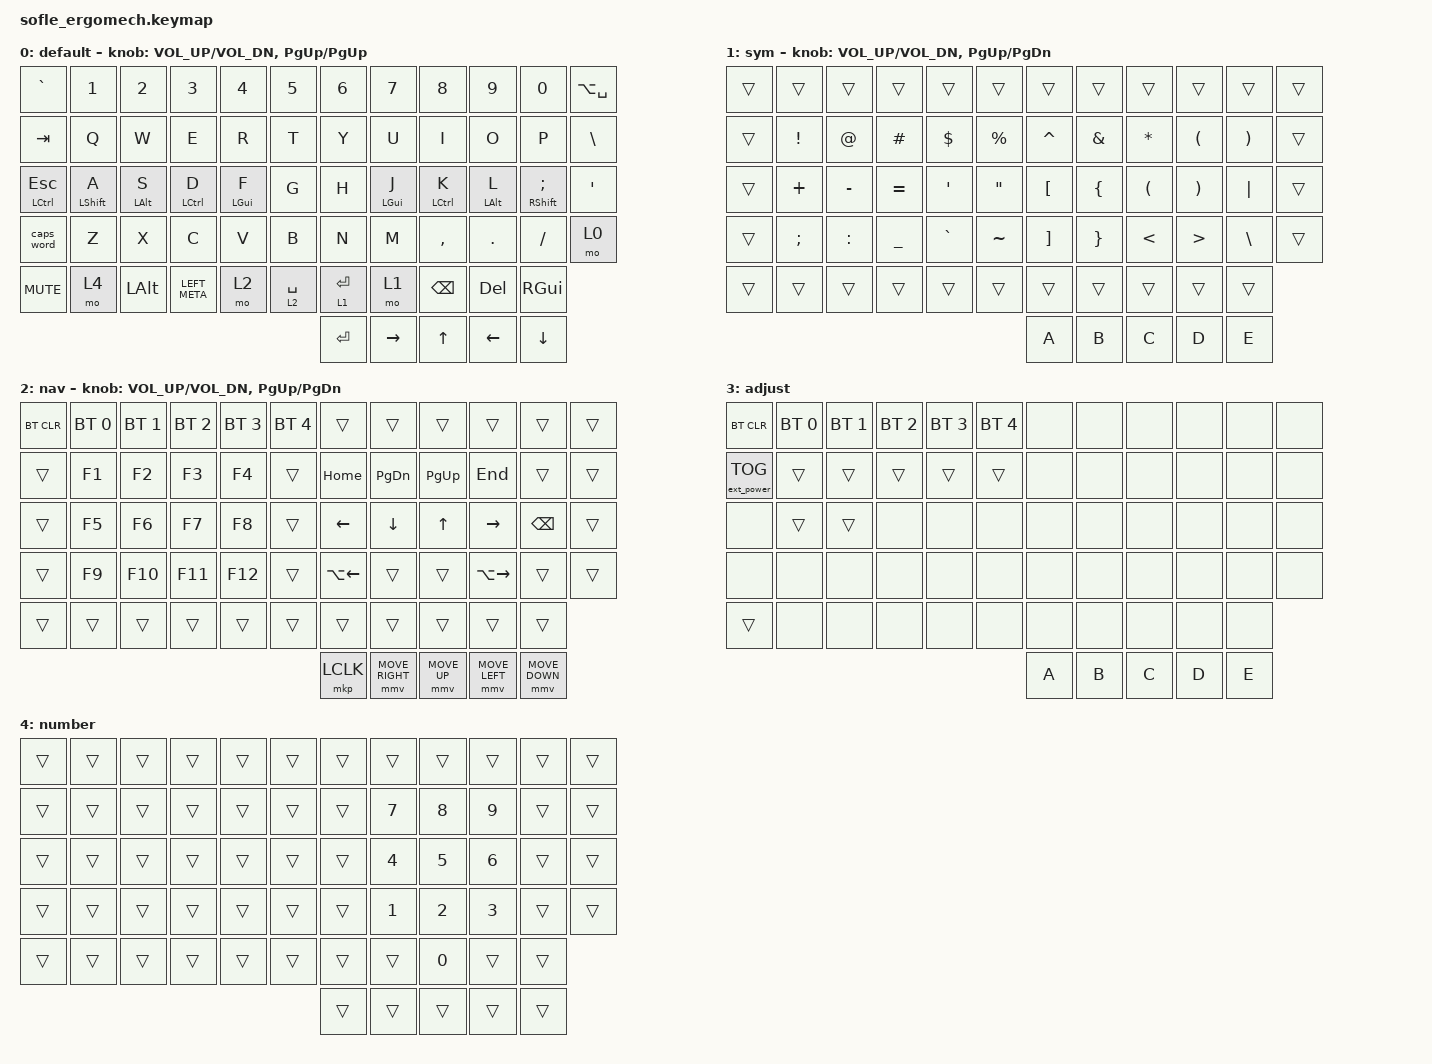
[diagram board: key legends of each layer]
/*
 * Copyright (c) 2020 The ZMK Contributors
 *
 * SPDX-License-Identifier: MIT
 */

#include <behaviors.dtsi>
#include <dt-bindings/zmk/bt.h>
#include <dt-bindings/zmk/ext_power.h>
#include <dt-bindings/zmk/keys.h>
#include <dt-bindings/zmk/pointing.h>

#define BASE 0
#define LOWER 1
#define RAISE 2
#define ADJUST 3

&mt { tapping-term-ms = <250>; };

/ {
    // Activate ADJUST layer by pressing raise and lower

    conditional_layers {
        compatible = "zmk,conditional-layers";

        adjust_layer {
            if-layers = <1 2>;
            then-layer = <3>;
        };
    };

    keymap {
        compatible = "zmk,keymap";

        default_layer {
            label = "default";

            // ------------------------------------------------------------------------------------------------------------
            // |   `   |  1  |  2  |  3   |  4   |  5   |                   |  6   |  7    |  8    |  9   |   0   |       |
            // |  ESC  |  Q  |  W  |  E   |  R   |  T   |                   |  Y   |  U    |  I    |  O   |   P   | BKSPC |
            // |  TAB  |  A  |  S  |  D   |  F   |  G   |                   |  H   |  J    |  K    |  L   |   ;   |   '   |
            // | SHIFT |  Z  |  X  |  C   |  V   |  B   |  MUTE  |  |       |  N   |  M    |  ,    |  .   |   /   | SHIFT |
            //               | GUI | ALT  | CTRL | RAISE|  ENTER |  | SPACE | LOWER| CTRL  | ALT   | GUI  |

            bindings = <
&kp GRAVE         &kp N1       &kp N2      &kp N3         &kp N4      &kp N5       &kp N6       &kp N7          &kp N8         &kp N9      &kp N0          &kp LA(SPACE)
&kp TAB           &kp Q        &kp W       &kp E          &kp R       &kp T        &kp Y        &kp U           &kp I          &kp O       &kp P           &kp BACKSLASH
&mt LCTRL ESCAPE  &mt LSHFT A  &mt LALT S  &mt LCTRL D    &mt LGUI F  &kp G        &kp H        &mt LEFT_GUI J  &mt LCTRL K    &mt LALT L  &mt RSHFT SEMI  &kp SQT
&caps_word        &kp Z        &kp X       &kp C          &kp V       &kp B        &kp N        &kp M           &kp COMMA      &kp DOT     &kp FSLH        &mo 0
&kp C_MUTE        &mo 4        &kp LALT    &kp LEFT_META  &mo 2       &lt 2 SPACE  &lt 1 ENTER  &mo 1           &kp BACKSPACE  &kp DEL     &kp RGUI
                                                                                   &kp ENTER    &kp RIGHT       &kp UP_ARROW   &kp LEFT    &kp DOWN
            >;

            sensor-bindings =
                <&inc_dec_kp C_VOL_UP C_VOL_DN>,
                <&inc_dec_kp PG_UP PG_UP>;
        };

        symbols {
            label = "sym";

            // TODO: Some binds are waiting for shifted keycode support.
            // ------------------------------------------------------------------------------------------------------------
            // |       |  F1 |  F2 |  F3  |  F4  |  F5  |                   |  F6  |  F7   |  F8   |  F9  |  F10  |  F11  |
            // |   `   |  1  |  2  |  3   |  4   |  5   |                   |  6   |  7    |  8    |  9   |   0   |  F12  |
            // |       |  !  |  @  |  #   |  $   |  %   |                   |  ^   |  &    |  *    |  (   |   )   |   |   |
            // |       |  =  |  -  |  +   |  {   |  }   |        |  |       |  [   |  ]    |  ;    |  :   |   \   |       |
            //               |     |      |      |      |        |  |       |      |       |       |      |

            bindings = <
&trans  &trans    &trans     &trans     &trans            &trans             &trans            &trans          &trans                &trans                 &trans                 &trans
&trans  &kp EXCL  &kp AT     &kp HASH   &kp DOLLAR        &kp PERCENT        &kp CARET         &kp AMPS        &kp ASTRK             &kp LEFT_PARENTHESIS   &kp RIGHT_PARENTHESIS  &trans
&trans  &kp PLUS  &kp MINUS  &kp EQUAL  &kp SINGLE_QUOTE  &kp DOUBLE_QUOTES  &kp LEFT_BRACKET  &kp LEFT_BRACE  &kp LEFT_PARENTHESIS  &kp RIGHT_PARENTHESIS  &kp PIPE               &trans
&trans  &kp SEMI  &kp COLON  &kp UNDER  &kp GRAVE         &kp TILDE          &kp RBKT          &kp RBRC        &kp LESS_THAN         &kp GREATER_THAN       &kp BSLH               &trans
&trans  &trans    &trans     &trans     &trans            &trans             &trans            &trans          &trans                &trans                 &trans
                                                                             &kp A             &kp B           &kp C                 &kp D                  &kp E
            >;

            sensor-bindings = <&inc_dec_kp C_VOL_UP C_VOL_DN &inc_dec_kp PG_UP PG_DN>;
        };

        navigation {
            label = "nav";

            // ------------------------------------------------------------------------------------------------------------
            // | BTCLR | BT1  | BT2  |  BT3  |  BT4  |  BT5 |                |      |      |       |      |       |       |
            // |       | INS  | PSCR | GUI   |       |      |                | PGUP |      |   ^   |      |       |       |
            // |       | ALT  | CTRL | SHIFT |       | CAPS |                | PGDN |   <- |   v   |  ->  |  DEL  | BKSPC |
            // |       | UNDO | CUT  | COPY  | PASTE |      |      |  |      |      |      |       |      |       |       |
            //                |      |       |       |      |      |  |      |      |      |       |      |

            bindings = <
&bt BT_CLR  &bt BT_SEL 0  &bt BT_SEL 1  &bt BT_SEL 2  &bt BT_SEL 3  &bt BT_SEL 4  &trans              &trans           &trans        &trans          &trans          &trans
&trans      &kp F1        &kp F2        &kp F3        &kp F4        &trans        &kp HOME            &kp PAGE_DOWN    &kp PG_UP     &kp END         &trans          &trans
&trans      &kp F5        &kp F6        &kp F7        &kp F8        &trans        &kp LEFT_ARROW      &kp DOWN_ARROW   &kp UP_ARROW  &kp RIGHT       &kp BACKSPACE   &trans
&trans      &kp F9        &kp F10       &kp F11       &kp F12       &trans        &kp LA(LEFT_ARROW)  &trans           &trans        &kp LA(RIGHT)   &trans          &trans
&trans      &trans        &trans        &trans        &trans        &trans        &trans              &trans           &trans        &trans          &trans
                                                                                  &mkp LCLK           &mmv MOVE_RIGHT  &mmv MOVE_UP  &mmv MOVE_LEFT  &mmv MOVE_DOWN
            >;

            sensor-bindings = <&inc_dec_kp C_VOL_UP C_VOL_DN &inc_dec_kp PG_UP PG_DN>;
        };

        adjust_layer {
            // ----------------------------------------------------------------------------------------------------------------------------
            // | BTCLR  |  BT1    |  BT2    |   BT3   |   BT4   |   BT5   |                  |      |      |       |      |       |       |
            // | EXTPWR | RGB_HUD | RGB_HUI | RGB_SAD | RGB_SAI | RGB_EFF |                  |      |      |       |      |       |       |
            // |        | RGB_BRD | RGB_BRI |         |         |         |                  |      |      |       |      |       |       |
            // |        |         |         |         |         |         | RGB_TOG | |      |      |      |       |      |       |       |
            //                    |         |         |         |         |         | |      |      |      |       |      |

            label = "adjust";
            bindings = <
&bt BT_CLR         &bt BT_SEL 0  &bt BT_SEL 1  &bt BT_SEL 2  &bt BT_SEL 3  &bt BT_SEL 4  &none  &none  &none  &none  &none  &none
&ext_power EP_TOG  &trans        &trans        &trans        &trans        &trans        &none  &none  &none  &none  &none  &none
&none              &trans        &trans        &none         &none         &none         &none  &none  &none  &none  &none  &none
&none              &none         &none         &none         &none         &none         &none  &none  &none  &none  &none  &none
&trans             &none         &none         &none         &none         &none         &none  &none  &none  &none  &none
                                                                                         &kp A  &kp B  &kp C  &kp D  &kp E
            >;
        };

        number {
            label = "number";
            bindings = <
&trans  &trans  &trans  &trans  &trans  &trans  &trans  &trans  &trans  &trans  &trans  &trans
&trans  &trans  &trans  &trans  &trans  &trans  &trans  &kp N7  &kp N8  &kp N9  &trans  &trans
&trans  &trans  &trans  &trans  &trans  &trans  &trans  &kp N4  &kp N5  &kp N6  &trans  &trans
&trans  &trans  &trans  &trans  &trans  &trans  &trans  &kp N1  &kp N2  &kp N3  &trans  &trans
&trans  &trans  &trans  &trans  &trans  &trans  &trans  &trans  &kp N0  &trans  &trans
                                                &trans  &trans  &trans  &trans  &trans
            >;
        };
    };
};
